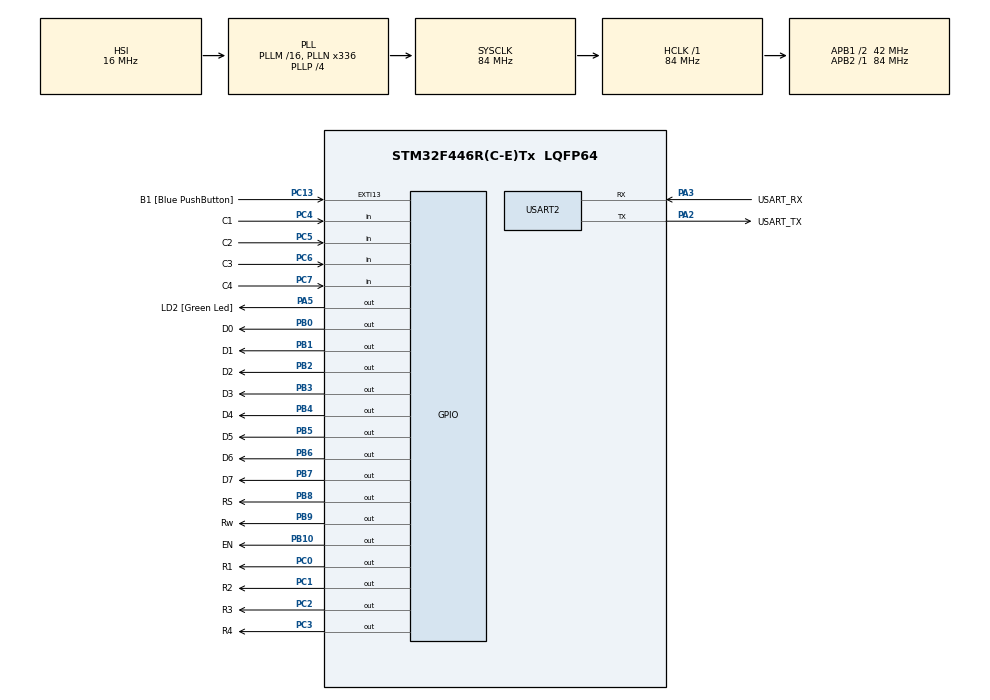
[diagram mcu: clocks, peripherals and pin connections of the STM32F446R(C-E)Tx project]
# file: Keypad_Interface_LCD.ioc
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Mcu.Family=STM32F4
Mcu.Name=STM32F446R(C-E)Tx
Mcu.Package=LQFP64
NVIC.PriorityGroup=NVIC_PRIORITYGROUP_0
PA13.GPIO_Label=TMS
PA13.Mode=Serial_Wire
PA13.Signal=SYS_JTMS-SWDIO
PA14.GPIO_Label=TCK
PA14.Mode=Serial_Wire
PA14.Signal=SYS_JTCK-SWCLK
PA2.GPIO_Label=USART_TX
PA2.Mode=Asynchronous
PA2.Signal=USART2_TX
PA3.GPIO_Label=USART_RX
PA3.Mode=Asynchronous
PA3.Signal=USART2_RX
PA5.GPIO_Label=LD2 [Green Led]
PA5.Signal=GPIO_Output
PB0.GPIO_Label=D0
PB0.Signal=GPIO_Output
PB1.GPIO_Label=D1
PB1.Signal=GPIO_Output
PB10.GPIO_Label=EN
PB10.Signal=GPIO_Output
PB2.GPIO_Label=D2
PB2.Signal=GPIO_Output
PB3.GPIO_Label=D3
PB3.Signal=GPIO_Output
PB4.GPIO_Label=D4
PB4.Signal=GPIO_Output
PB5.GPIO_Label=D5
PB5.Signal=GPIO_Output
PB6.GPIO_Label=D6
PB6.Signal=GPIO_Output
PB7.GPIO_Label=D7
PB7.Signal=GPIO_Output
PB8.GPIO_Label=RS
PB8.Signal=GPIO_Output
PB9.GPIO_Label=Rw
PB9.Signal=GPIO_Output
PC0.GPIO_Label=R1
PC0.Signal=GPIO_Output
PC1.GPIO_Label=R2
PC1.Signal=GPIO_Output
PC13.GPIO_Label=B1 [Blue PushButton]
PC13.GPIO_ModeDefaultEXTI=GPIO_MODE_IT_FALLING
PC13.Signal=GPXTI13
PC14-OSC32_IN.Mode=LSE-External-Oscillator
PC14-OSC32_IN.Signal=RCC_OSC32_IN
PC15-OSC32_OUT.Mode=LSE-External-Oscillator
PC15-OSC32_OUT.Signal=RCC_OSC32_OUT
PC2.GPIO_Label=R3
PC2.Signal=GPIO_Output
PC3.GPIO_Label=R4
PC3.Signal=GPIO_Output
PC4.GPIO_Label=C1
PC4.Signal=GPIO_Input
PC5.GPIO_Label=C2
PC5.Signal=GPIO_Input
PC6.GPIO_Label=C3
PC6.Signal=GPIO_Input
PC7.GPIO_Label=C4
PC7.Signal=GPIO_Input
PH0-OSC_IN.Mode=HSE-External-Oscillator
PH0-OSC_IN.Signal=RCC_OSC_IN
PH1-OSC_OUT.Mode=HSE-External-Oscillator
PH1-OSC_OUT.Signal=RCC_OSC_OUT
ProjectManager.HeapSize=0x200
ProjectManager.StackSize=0x400
ProjectManager.TargetToolchain=STM32CubeIDE
RCC.48MHZClocksFreq_Value=84000000
RCC.AHBFreq_Value=84000000
RCC.APB1CLKDivider=RCC_HCLK_DIV2
RCC.APB1Freq_Value=42000000
RCC.APB1TimFreq_Value=84000000
RCC.APB2Freq_Value=84000000
RCC.APB2TimFreq_Value=84000000
RCC.CortexFreq_Value=84000000
RCC.FLatency-AdvancedSettings=FLASH_LATENCY_2
RCC.HCLKFreq_Value=84000000
RCC.HSE_VALUE=8000000
RCC.HSI_VALUE=16000000
RCC.PLLN=336
RCC.PLLP=RCC_PLLP_DIV4
RCC.SYSCLKFreq_VALUE=84000000
RCC.SYSCLKSource=RCC_SYSCLKSOURCE_PLLCLK
RCC.USBFreq_Value=168000000
RCC.VCOOutputFreq_Value=336000000
USART2.VirtualMode=VM_ASYNC
board=NUCLEO-F446RE

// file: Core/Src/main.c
/* USER CODE BEGIN Header */
/**
  ******************************************************************************
  * @file           : main.c
  * @brief          : Main program body
  ******************************************************************************
  * @attention
  *
  * Copyright (c) 2023 STMicroelectronics.
  * All rights reserved.
  *
  * This software is licensed under terms that can be found in the LICENSE file
  * in the root directory of this software component.
  * If no LICENSE file comes with this software, it is provided AS-IS.
  *
  ******************************************************************************
  */
/* USER CODE END Header */
#include "main.h"

/* USER CODE BEGIN PD */
#define ROWS 4
#define COLS 4
/* USER CODE END PD */

UART_HandleTypeDef huart2;

/* USER CODE BEGIN PV */

uint16_t Data_Pins[8];

/* USER CODE END PV */

void SystemClock_Config(void);
static void MX_GPIO_Init(void);
static void MX_USART2_UART_Init(void);
/* USER CODE BEGIN PFP */

void LCD_Initialize( void );
void LCD_WriteCommand(uint8_t cmd);
void LCD_WriteData(uint8_t data);
void LCD_WriteString(const char *ptr);

uint8_t  Get_Key( void );
uint8_t Read_Keypad( void );
/* USER CODE END PFP */

int main(void)
{

  /* MCU Configuration--------------------------------------------------------*/

  /* Reset of all peripherals, Initializes the Flash interface and the Systick. */
  HAL_Init();

  /* Configure the system clock */
  SystemClock_Config();

  /* Initialize all configured peripherals */
  MX_GPIO_Init();
  MX_USART2_UART_Init();
  /* USER CODE BEGIN 2 */
  Data_Pins[0] = D0_Pin;
  Data_Pins[1] = D1_Pin;
  Data_Pins[2] = D2_Pin;
  Data_Pins[3] = D3_Pin;
  Data_Pins[4] = D4_Pin;
  Data_Pins[5] = D5_Pin;
  Data_Pins[6] = D6_Pin;
  Data_Pins[7] = D7_Pin;

  LCD_Initialize();
  /* USER CODE END 2 */

  /* Infinite loop */
  while (1)
  {

    /* USER CODE BEGIN 3 */
	  HAL_GPIO_WritePin(GPIOC, C1_Pin, 1);
	  HAL_GPIO_WritePin(GPIOC, C2_Pin, 1);
	  HAL_GPIO_WritePin(GPIOC, C3_Pin, 1);
	  HAL_GPIO_WritePin(GPIOC, C4_Pin, 1);

	  uint8_t key = Read_Keypad();
	  LCD_WriteCommand(0x80);
	  LCD_WriteString("Key Prassed : ");
	  if(key != 0) {
		  LCD_WriteCommand(0xC0);
		  LCD_WriteData(key);

	  }
  }
  /* USER CODE END 3 */
}

void SystemClock_Config(void)
{
  RCC_OscInitTypeDef RCC_OscInitStruct = {0};
  RCC_ClkInitTypeDef RCC_ClkInitStruct = {0};

  /** Configure the main internal regulator output voltage
  */
  __HAL_RCC_PWR_CLK_ENABLE();
  __HAL_PWR_VOLTAGESCALING_CONFIG(PWR_REGULATOR_VOLTAGE_SCALE3);

  /** Initializes the RCC Oscillators according to the specified parameters
  * in the RCC_OscInitTypeDef structure.
  */
  RCC_OscInitStruct.OscillatorType = RCC_OSCILLATORTYPE_HSI;
  RCC_OscInitStruct.HSIState = RCC_HSI_ON;
  RCC_OscInitStruct.HSICalibrationValue = RCC_HSICALIBRATION_DEFAULT;
  RCC_OscInitStruct.PLL.PLLState = RCC_PLL_ON;
  RCC_OscInitStruct.PLL.PLLSource = RCC_PLLSOURCE_HSI;
  RCC_OscInitStruct.PLL.PLLM = 16;
  RCC_OscInitStruct.PLL.PLLN = 336;
  RCC_OscInitStruct.PLL.PLLP = RCC_PLLP_DIV4;
  RCC_OscInitStruct.PLL.PLLQ = 2;
  RCC_OscInitStruct.PLL.PLLR = 2;
  if (HAL_RCC_OscConfig(&RCC_OscInitStruct) != HAL_OK)
  {
    Error_Handler();
  }

  /** Initializes the CPU, AHB and APB buses clocks
  */
  RCC_ClkInitStruct.ClockType = RCC_CLOCKTYPE_HCLK|RCC_CLOCKTYPE_SYSCLK
                              |RCC_CLOCKTYPE_PCLK1|RCC_CLOCKTYPE_PCLK2;
  RCC_ClkInitStruct.SYSCLKSource = RCC_SYSCLKSOURCE_PLLCLK;
  RCC_ClkInitStruct.AHBCLKDivider = RCC_SYSCLK_DIV1;
  RCC_ClkInitStruct.APB1CLKDivider = RCC_HCLK_DIV2;
  RCC_ClkInitStruct.APB2CLKDivider = RCC_HCLK_DIV1;

  if (HAL_RCC_ClockConfig(&RCC_ClkInitStruct, FLASH_LATENCY_2) != HAL_OK)
  {
    Error_Handler();
  }
}

static void MX_USART2_UART_Init(void)
{

  huart2.Instance = USART2;
  huart2.Init.BaudRate = 115200;
  huart2.Init.WordLength = UART_WORDLENGTH_8B;
  huart2.Init.StopBits = UART_STOPBITS_1;
  huart2.Init.Parity = UART_PARITY_NONE;
  huart2.Init.Mode = UART_MODE_TX_RX;
  huart2.Init.HwFlowCtl = UART_HWCONTROL_NONE;
  huart2.Init.OverSampling = UART_OVERSAMPLING_16;
  if (HAL_UART_Init(&huart2) != HAL_OK)
  {
    Error_Handler();
  }

}

static void MX_GPIO_Init(void)
{
  GPIO_InitTypeDef GPIO_InitStruct = {0};

  /* GPIO Ports Clock Enable */
  __HAL_RCC_GPIOC_CLK_ENABLE();
  __HAL_RCC_GPIOH_CLK_ENABLE();
  __HAL_RCC_GPIOA_CLK_ENABLE();
  __HAL_RCC_GPIOB_CLK_ENABLE();

  /*Configure GPIO pin Output Level */
  HAL_GPIO_WritePin(GPIOC, R1_Pin|R2_Pin|R3_Pin|R4_Pin, GPIO_PIN_RESET);

  /*Configure GPIO pin Output Level */
  HAL_GPIO_WritePin(LD2_GPIO_Port, LD2_Pin, GPIO_PIN_RESET);

  /*Configure GPIO pin Output Level */
  HAL_GPIO_WritePin(GPIOB, D0_Pin|D1_Pin|D2_Pin|EN_Pin
                          |D3_Pin|D4_Pin|D5_Pin|D6_Pin
                          |D7_Pin|RS_Pin|Rw_Pin, GPIO_PIN_RESET);

  /*Configure GPIO pin : B1_Pin */
  GPIO_InitStruct.Pin = B1_Pin;
  GPIO_InitStruct.Mode = GPIO_MODE_IT_FALLING;
  GPIO_InitStruct.Pull = GPIO_NOPULL;
  HAL_GPIO_Init(B1_GPIO_Port, &GPIO_InitStruct);

  /*Configure GPIO pins : R1_Pin R2_Pin R3_Pin R4_Pin */
  GPIO_InitStruct.Pin = R1_Pin|R2_Pin|R3_Pin|R4_Pin;
  GPIO_InitStruct.Mode = GPIO_MODE_OUTPUT_PP;
  GPIO_InitStruct.Pull = GPIO_NOPULL;
  GPIO_InitStruct.Speed = GPIO_SPEED_FREQ_LOW;
  HAL_GPIO_Init(GPIOC, &GPIO_InitStruct);

  /*Configure GPIO pin : LD2_Pin */
  GPIO_InitStruct.Pin = LD2_Pin;
  GPIO_InitStruct.Mode = GPIO_MODE_OUTPUT_PP;
  GPIO_InitStruct.Pull = GPIO_NOPULL;
  GPIO_InitStruct.Speed = GPIO_SPEED_FREQ_LOW;
  HAL_GPIO_Init(LD2_GPIO_Port, &GPIO_InitStruct);

  /*Configure GPIO pins : C1_Pin C2_Pin C3_Pin C4_Pin */
  GPIO_InitStruct.Pin = C1_Pin|C2_Pin|C3_Pin|C4_Pin;
  GPIO_InitStruct.Mode = GPIO_MODE_INPUT;
  GPIO_InitStruct.Pull = GPIO_NOPULL;
  HAL_GPIO_Init(GPIOC, &GPIO_InitStruct);

  /*Configure GPIO pins : D0_Pin D1_Pin D2_Pin EN_Pin
                           D3_Pin D4_Pin D5_Pin D6_Pin
                           D7_Pin RS_Pin Rw_Pin */
  GPIO_InitStruct.Pin = D0_Pin|D1_Pin|D2_Pin|EN_Pin
                          |D3_Pin|D4_Pin|D5_Pin|D6_Pin
                          |D7_Pin|RS_Pin|Rw_Pin;
  GPIO_InitStruct.Mode = GPIO_MODE_OUTPUT_PP;
  GPIO_InitStruct.Pull = GPIO_NOPULL;
  GPIO_InitStruct.Speed = GPIO_SPEED_FREQ_LOW;
  HAL_GPIO_Init(GPIOB, &GPIO_InitStruct);

}

/* USER CODE BEGIN 4 */

void LCD_Initialize( void ){

	HAL_Delay(100);

	LCD_WriteCommand(0x38);
	LCD_WriteCommand(0x38);
	LCD_WriteCommand(0x38);
	LCD_WriteCommand(0x0C);
	LCD_WriteCommand(0x06);
	LCD_WriteCommand(0x01);
	LCD_WriteCommand(0x80);
}
void LCD_WriteCommand(uint8_t cmd){

	HAL_GPIO_WritePin(GPIOB, RS_Pin, GPIO_PIN_RESET);
	HAL_GPIO_WritePin(GPIOB, Rw_Pin, GPIO_PIN_RESET);

	for(int8_t i = 0;i<8;i++){

		HAL_GPIO_WritePin(GPIOB, Data_Pins[i], ((cmd >> i)&0x01)?GPIO_PIN_SET : GPIO_PIN_RESET);
	}

	HAL_GPIO_WritePin(GPIOB, EN_Pin, GPIO_PIN_RESET);
	HAL_Delay(1);
	HAL_GPIO_WritePin(GPIOB, EN_Pin, GPIO_PIN_SET);
	HAL_Delay(1);
}
void LCD_WriteData(uint8_t data)
{

	HAL_GPIO_WritePin(GPIOB, RS_Pin, GPIO_PIN_SET);
	HAL_GPIO_WritePin(GPIOB, Rw_Pin, GPIO_PIN_RESET);

	for(int8_t i = 0;i<8;i++){

		HAL_GPIO_WritePin(GPIOB, Data_Pins[i], ((data >> i)&0x01)?GPIO_PIN_SET : GPIO_PIN_RESET);
	}

	HAL_GPIO_WritePin(GPIOB, EN_Pin, GPIO_PIN_RESET);
	HAL_Delay(1);
	HAL_GPIO_WritePin(GPIOB, EN_Pin, GPIO_PIN_SET);
	HAL_Delay(1);
}
void LCD_WriteString(const char *ptr){

	while(*ptr != '\0'){

		LCD_WriteData(*ptr++);
	}
}

uint8_t Read_Keypad( void ) {

	HAL_GPIO_WritePin(GPIOC, R1_Pin, 0);
	HAL_GPIO_WritePin(GPIOC, R2_Pin, 1);
	HAL_GPIO_WritePin(GPIOC, R3_Pin, 1);
	HAL_GPIO_WritePin(GPIOC, R4_Pin, 1);
	HAL_Delay(20);
	if(HAL_GPIO_ReadPin(GPIOC, C1_Pin) == 0) {

		while(HAL_GPIO_ReadPin(GPIOC, C1_Pin) == 0);
		return '1';
	}

	if(HAL_GPIO_ReadPin(GPIOC, C2_Pin) == 0) {

		while(HAL_GPIO_ReadPin(GPIOC, C2_Pin) == 0);
		return '2';
	}

	if(HAL_GPIO_ReadPin(GPIOC, C3_Pin) == 0) {

		while(HAL_GPIO_ReadPin(GPIOC, C3_Pin) == 0);
		return '3';
	}

	if(HAL_GPIO_ReadPin(GPIOC, C4_Pin) == 0) {

		while(HAL_GPIO_ReadPin(GPIOC, C4_Pin) == 0);
		return 'A';
	}

	HAL_GPIO_WritePin(GPIOC, R1_Pin, 1);
	HAL_GPIO_WritePin(GPIOC, R2_Pin, 0);
	HAL_GPIO_WritePin(GPIOC, R3_Pin, 1);
	HAL_GPIO_WritePin(GPIOC, R4_Pin, 1);
	HAL_Delay(20);
	if(HAL_GPIO_ReadPin(GPIOC, C1_Pin) ==0) {

		while(HAL_GPIO_ReadPin(GPIOC, C1_Pin) == 0);
		return '4';
	}

	if(HAL_GPIO_ReadPin(GPIOC, C2_Pin) == 0) {

		while(HAL_GPIO_ReadPin(GPIOC, C2_Pin) == 0);
		return '5';
	}

	if(HAL_GPIO_ReadPin(GPIOC, C3_Pin) == 0) {

		while(HAL_GPIO_ReadPin(GPIOC, C3_Pin) == 0);
		return '6';
	}

	if(HAL_GPIO_ReadPin(GPIOC, C4_Pin) == 0) {

		while(HAL_GPIO_ReadPin(GPIOC, C4_Pin) == 0);
		return 'B';
	}

	HAL_GPIO_WritePin(GPIOC, R1_Pin, 1);
	HAL_GPIO_WritePin(GPIOC, R2_Pin, 1);
	HAL_GPIO_WritePin(GPIOC, R3_Pin, 0);
	HAL_GPIO_WritePin(GPIOC, R4_Pin, 1);
	HAL_Delay(20);
	if(HAL_GPIO_ReadPin(GPIOC, C1_Pin) == 0) {

		while(HAL_GPIO_ReadPin(GPIOC, C1_Pin) == 0);
		return '7';
	}

	if(HAL_GPIO_ReadPin(GPIOC, C2_Pin) == 0) {

		while(HAL_GPIO_ReadPin(GPIOC, C2_Pin) == 0);
		return '8';
	}

	if(HAL_GPIO_ReadPin(GPIOC, C3_Pin) == 0) {

		while(HAL_GPIO_ReadPin(GPIOC, C3_Pin) == 0);
		return '9';
	}

	if(HAL_GPIO_ReadPin(GPIOC, C4_Pin) == 0) {

		while(HAL_GPIO_ReadPin(GPIOC, C4_Pin) == 0);
		return 'C';
	}

	HAL_GPIO_WritePin(GPIOC, R1_Pin, 1);
	HAL_GPIO_WritePin(GPIOC, R2_Pin, 1);
	HAL_GPIO_WritePin(GPIOC, R3_Pin, 1);
	HAL_GPIO_WritePin(GPIOC, R4_Pin, 0);
	HAL_Delay(20);
	if(HAL_GPIO_ReadPin(GPIOC, C1_Pin) == 0) {

		while(HAL_GPIO_ReadPin(GPIOC, C1_Pin) == 0);
		return '*';
	}

	if(HAL_GPIO_ReadPin(GPIOC, C2_Pin) == 0) {

		while(HAL_GPIO_ReadPin(GPIOC, C2_Pin) == 0);
		return '0';
	}

	if(HAL_GPIO_ReadPin(GPIOC, C3_Pin) == 0) {

		while(HAL_GPIO_ReadPin(GPIOC, C3_Pin) == 0);
		return '#';
	}

	if(HAL_GPIO_ReadPin(GPIOC, C4_Pin) == 0) {

		while(HAL_GPIO_ReadPin(GPIOC, C4_Pin) == 0);
		return 'D';
	}
	return 0;
}
//uint8_t Get_Key( void ){
//
//	HAL_GPIO_WritePin (R1_GPIO_Port, R1_Pin, GPIO_PIN_RESET);  //Pull the R1 low
//	HAL_GPIO_WritePin (R2_GPIO_Port, R2_Pin, GPIO_PIN_SET);  // Pull the R2 High
//	HAL_GPIO_WritePin (R3_GPIO_Port, R3_Pin, GPIO_PIN_SET);  // Pull the R3 High
//	HAL_GPIO_WritePin (R4_GPIO_Port, R4_Pin, GPIO_PIN_SET);  // Pull the R4 High
//
//	if ((HAL_GPIO_ReadPin (C1_GPIO_Port, C1_Pin))== GPIO_PIN_RESET)   // if the Col 1 is low
//	{
//		while ((HAL_GPIO_ReadPin (C1_GPIO_Port, C1_Pin))==GPIO_PIN_RESET);   // wait till the button is pressed
//		return '1';
//	}
//
//	if ((HAL_GPIO_ReadPin (C2_GPIO_Port, C2_Pin))==GPIO_PIN_RESET)   // if the Col 2 is low
//	{
//		while ((HAL_GPIO_ReadPin (C2_GPIO_Port, C2_Pin))==GPIO_PIN_RESET);   // wait till the button is pressed
//		return '2';
//	}
//
//	if ((HAL_GPIO_ReadPin (C3_GPIO_Port, C3_Pin))==GPIO_PIN_RESET)   // if the Col 3 is low
//	{
//		while ((HAL_GPIO_ReadPin (C3_GPIO_Port, C3_Pin))==GPIO_PIN_RESET);   // wait till the button is pressed
//		return '3';
//	}
//
//	if((HAL_GPIO_ReadPin (C4_GPIO_Port, C4_Pin))==GPIO_PIN_RESET)   // if the Col 4 is low
//	{
//
//		while ((HAL_GPIO_ReadPin (C4_GPIO_Port, C4_Pin))==GPIO_PIN_RESET);   // wait till the button is pressed
//		return 'A';
//	}
//
//
//
//
//	HAL_GPIO_WritePin (R1_GPIO_Port, R1_Pin, GPIO_PIN_SET);  //Pull the R1 low
//	HAL_GPIO_WritePin (R2_GPIO_Port, R2_Pin, GPIO_PIN_RESET);  // Pull the R2 High
//	HAL_GPIO_WritePin (R3_GPIO_Port, R3_Pin, GPIO_PIN_SET);  // Pull the R3 High
//	HAL_GPIO_WritePin (R4_GPIO_Port, R4_Pin, GPIO_PIN_SET);  // Pull the R4 High
//
//	if ((HAL_GPIO_ReadPin (C1_GPIO_Port, C1_Pin))==GPIO_PIN_RESET)   // if the Col 1 is low
//	{
//		while ((HAL_GPIO_ReadPin (C1_GPIO_Port, C1_Pin))==GPIO_PIN_RESET);   // wait till the button is pressed
//		return '4';
//
//	}
//
//	if ((HAL_GPIO_ReadPin (C2_GPIO_Port, C2_Pin))==GPIO_PIN_RESET)   // if the Col 2 is low
//	{
//		while ((HAL_GPIO_ReadPin (C2_GPIO_Port, C2_Pin))==GPIO_PIN_RESET);   // wait till the button is pressed
//		return '5';
//	}
//
//	if ((HAL_GPIO_ReadPin (C3_GPIO_Port, C3_Pin))==GPIO_PIN_RESET)   // if the Col 3 is low
//	{
//		while ((HAL_GPIO_ReadPin (C3_GPIO_Port, C3_Pin))==GPIO_PIN_RESET);   // wait till the button is pressed
//		return '6';
//	}
//
//	if ((HAL_GPIO_ReadPin (C4_GPIO_Port, C4_Pin))==GPIO_PIN_RESET)   // if the Col 4 is low
//	{
//		while ((HAL_GPIO_ReadPin (C4_GPIO_Port, C4_Pin))==GPIO_PIN_RESET);   // wait till the button is pressed
//		return 'B';
//	}
//
//
//	HAL_GPIO_WritePin (R1_GPIO_Port, R1_Pin, GPIO_PIN_SET);  //Pull the R1 low
//	HAL_GPIO_WritePin (R2_GPIO_Port, R2_Pin, GPIO_PIN_SET);  // Pull the R2 High
//	HAL_GPIO_WritePin (R3_GPIO_Port, R3_Pin, GPIO_PIN_RESET);  // Pull the R3 High
//	HAL_GPIO_WritePin (R4_GPIO_Port, R4_Pin, GPIO_PIN_SET);  // Pull the R4 High
//
//	if ((HAL_GPIO_ReadPin (C1_GPIO_Port, C1_Pin))==GPIO_PIN_RESET)   // if the Col 1 is low
//	{
//		while ((HAL_GPIO_ReadPin (C1_GPIO_Port, C1_Pin))==GPIO_PIN_RESET);   // wait till the button is pressed
//		return '7';
//	}
//
//	if ((HAL_GPIO_ReadPin (C2_GPIO_Port, C2_Pin))==GPIO_PIN_RESET)   // if the Col 2 is low
//	{
//		while ((HAL_GPIO_ReadPin (C2_GPIO_Port, C2_Pin))==GPIO_PIN_RESET);   // wait till the button is pressed
//		return '8';
//	}
//
//	if ((HAL_GPIO_ReadPin (C3_GPIO_Port, C3_Pin))==GPIO_PIN_RESET)   // if the Col 3 is low
//	{
//		while ((HAL_GPIO_ReadPin (C3_GPIO_Port, C3_Pin))==GPIO_PIN_RESET);   // wait till the button is pressed
//		return '9';
//	}
//
//	if ((HAL_GPIO_ReadPin (C4_GPIO_Port, C4_Pin))==GPIO_PIN_RESET)   // if the Col 4 is low
//	{
//		while ((HAL_GPIO_ReadPin (C4_GPIO_Port, C4_Pin))==GPIO_PIN_RESET);   // wait till the button is pressed
//		return 'C';
//	}
//
//
//
//
//	HAL_GPIO_WritePin (R1_GPIO_Port, R1_Pin, GPIO_PIN_SET);  //Pull the R1 low
//	HAL_GPIO_WritePin (R2_GPIO_Port, R2_Pin, GPIO_PIN_SET);  // Pull the R2 High
//	HAL_GPIO_WritePin (R3_GPIO_Port, R3_Pin, GPIO_PIN_SET);  // Pull the R3 High
//	HAL_GPIO_WritePin (R4_GPIO_Port, R4_Pin, GPIO_PIN_RESET);  // Pull the R4 High
//
//	if ((HAL_GPIO_ReadPin (C1_GPIO_Port, C1_Pin))==GPIO_PIN_RESET)   // if the Col 1 is low
//	{
//		while ((HAL_GPIO_ReadPin (C1_GPIO_Port, C1_Pin))==GPIO_PIN_RESET);   // wait till the button is pressed
//		return '*';
//	}
//
//	if ((HAL_GPIO_ReadPin (C2_GPIO_Port, C2_Pin))==GPIO_PIN_RESET)   // if the Col 2 is low
//	{
//		while ((HAL_GPIO_ReadPin (C2_GPIO_Port, C2_Pin))==GPIO_PIN_RESET);   // wait till the button is pressed
//		return '0';
//	}
//
//	if ((HAL_GPIO_ReadPin (C3_GPIO_Port, C3_Pin))==GPIO_PIN_RESET)   // if the Col 3 is low
//	{
//		while ((HAL_GPIO_ReadPin (C3_GPIO_Port, C3_Pin))==GPIO_PIN_RESET);   // wait till the button is pressed
//		return '#';
//	}
//
//	if ((HAL_GPIO_ReadPin (C4_GPIO_Port, C4_Pin))==GPIO_PIN_RESET)   // if the Col 4 is low
//	{
//		while ((HAL_GPIO_ReadPin (C4_GPIO_Port, C4_Pin))==GPIO_PIN_RESET);   // wait till the button is pressed
//		return 'D';
//	}
//	return 0;
//}

/* USER CODE END 4 */

void Error_Handler(void)
{
  __disable_irq();
  while (1)
  {
  }
}
